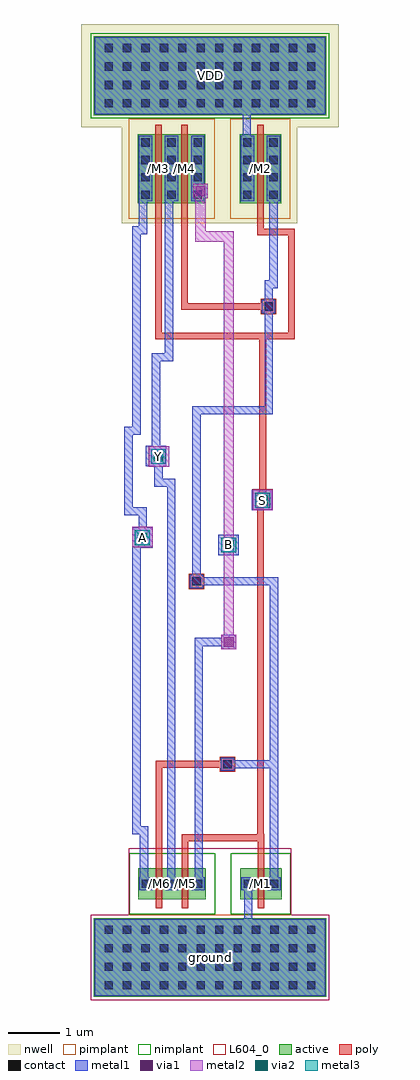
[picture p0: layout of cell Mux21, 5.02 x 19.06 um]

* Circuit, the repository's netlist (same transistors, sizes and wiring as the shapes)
* LVS netlist generated with ICnet by 'egrvlsi07' on Wed Apr  3 2019 at 13:10:53

*
* Globals.
*
.global ground VDD

*
* Component pathname : $VLSI/Project/Mux21
*
.subckt Mux21  Y A B S

        M6 Y N$46 A ground nmos l=0.13u w=0.6u m=1
        M3 Y S A VDD pmos l=0.13u w=1.35u m=1
        M5 Y S B ground nmos l=0.13u w=0.6u m=1
        M4 Y N$46 B VDD pmos l=0.13u w=1.35u m=1
        M2 N$46 S VDD VDD pmos l=0.13u w=1.35u m=1
        M1 N$46 S ground ground nmos l=0.13u w=0.6u m=1
.ends Mux21

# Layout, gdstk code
import gdstk
lib = gdstk.Library(unit=1e-6, precision=1e-09)
def R(c, l, rs):  # rectangles x0, y0, x1, y1
    for r in rs: c.add(gdstk.rectangle(r[:2], r[2:], *l))
def A(c, l, x, y, w, h, nx, ny, dx, dy):  # array of equal rectangles
    R(c, l, [(x+i*dx, y+j*dy, x+i*dx+w, y+j*dy+h) for i in range(nx) for j in range(ny)])
def P(c, l, *ps):  # polygons
    for p in ps: c.add(gdstk.Polygon(p, *l))
nwell = (3, 0)
active = (6, 0)
poly = (17, 0)
pimplant = (25, 0)
nimplant = (26, 0)
contact = (30, 0)
metal1 = (31, 0)
metal2 = (32, 0)
metal3 = (33, 0)
via1 = (51, 0)
via2 = (52, 0)
L604_0 = (604, 0)

m2m3 = lib.new_cell('M2M3')
R(m2m3, metal2, [(-0.145,-0.145,0.145,0.145)])
R(m2m3, metal3, [(-0.145,-0.145,0.145,0.145)])
R(m2m3, via2, [(-0.095,-0.095,0.095,0.095)])

m1m2 = lib.new_cell('M1M2')
R(m1m2, metal1, [(-0.145,-0.145,0.145,0.145)])
R(m1m2, metal2, [(-0.145,-0.145,0.145,0.145)])
R(m1m2, via1, [(-0.095,-0.095,0.095,0.095)])

poly_m1 = lib.new_cell('POLY_M1')
R(poly_m1, poly, [(-0.15,-0.15,0.15,0.15)])
R(poly_m1, contact, [(-0.08,-0.08,0.08,0.08)])
R(poly_m1, metal1, [(-0.13,-0.13,0.13,0.13)])

mux21 = lib.new_cell('Mux21')
R(mux21, nwell, [(-1.815,108.335,1.605,110.465), (-2.605,110.205,2.415,112.225)])
R(mux21, active, [(-2.365,93.225,2.175,94.765), (-1.495,95.135,-0.175,95.735), (0.495,95.135,1.305,95.735), (-1.505,108.725,-0.185,110.075), (0.485,108.725,1.295,110.075), (-2.365,110.445,2.175,111.985)])
R(mux21, poly, [(-1.155,94.955,-1.025,95.135), (-0.645,94.955,-0.515,95.135), (0.835,94.955,0.965,95.135), (-1.155,95.135,-1.025,95.735), (-0.645,95.135,-0.515,95.735), (0.835,95.135,0.965,95.735), (-1.155,95.735,-1.025,95.915), (-0.645,95.735,-0.515,95.915), (0.835,95.735,0.965,95.915), (0.835,95.785,0.965,96.4), (0.825,96.27,0.965,96.4), (0.825,96.27,0.955,102.99), (0.87,102.86,1,106.2), (0.87,106.07,1.56,106.2), (-1.165,108.545,-1.035,108.725), (-0.655,108.545,-0.525,108.725), (0.825,108.545,0.955,108.725), (-1.165,108.725,-1.035,110.075), (-0.655,108.725,-0.525,110.075), (0.825,108.725,0.955,110.075), (-1.165,110.075,-1.035,110.255), (-0.655,110.075,-0.525,110.255), (0.825,110.075,0.955,110.255)])
P(mux21, poly, [(-1.155,95.785),(-1.025,95.785),(-1.025,97.705),(0.31,97.705),(0.31,97.835),(-1.155,97.835)],
  [(-0.655,106.645),(1.115,106.645),(1.115,106.775),(-0.525,106.775),(-0.525,108.675),(-0.655,108.675)],
  [(0.825,108.1),(1.43,108.1),(1.43,106.07),(1.56,106.07),(1.56,108.23),(0.955,108.23),(0.955,108.675),(0.825,108.675)],
  [(-0.645,95.785),(-0.515,95.785),(-0.515,96.27),(0.955,96.27),(0.955,96.4),(-0.645,96.4)],
  [(-1.165,106.07),(1,106.07),(1,106.2),(-1.035,106.2),(-1.035,108.675),(-1.165,108.675)])
R(mux21, pimplant, [(-2.425,93.165,2.235,94.825), (-1.685,108.425,-0.005,110.375), (0.305,108.425,1.475,110.375)])
R(mux21, nimplant, [(-1.675,94.835,0.005,96.035), (0.315,94.835,1.485,96.035), (-2.425,110.385,2.235,112.045)])
A(mux21, contact, -2.155, 93.375, 0.16, 0.16, 12, 4, 0.36, 0.36)
A(mux21, contact, -1.425, 95.355, 0.16, 0.16, 3, 1, 0.51, 0)
A(mux21, contact, -1.435, 108.81, 0.16, 0.16, 3, 4, 0.51, 0.34)
A(mux21, contact, 0.555, 108.81, 0.16, 0.16, 1, 4, 0, 0.34)
A(mux21, contact, 1.065, 108.81, 0.16, 0.16, 1, 4, 0, 0.34)
A(mux21, contact, -2.155, 110.595, 0.16, 0.16, 12, 4, 0.36, 0.36)
R(mux21, contact, [(0.565,95.355,0.725,95.515), (1.075,95.355,1.235,95.515)])
A(mux21, metal1, -1.475, 95.305, 0.26, 0.26, 3, 1, 0.51, 0)
A(mux21, metal1, -1.485, 108.76, 0.26, 1.28, 3, 1, 0.51, 0)
R(mux21, metal1, [(-2.345,93.245,2.155,94.745), (-2.345,93.245,2.155,94.745), (0.57,94.585,0.73,95.465), (0.515,95.305,0.775,95.565), (1.025,95.305,1.285,95.565), (1.075,95.405,1.235,97.85), (0.165,97.69,1.235,97.85), (0.065,101.85,0.465,102.25), (-1.61,102,-1.21,102.4), (0.725,102.73,1.125,103.13), (-1.35,103.585,-0.95,103.985), (0.505,108.76,0.765,110.04), (1.015,108.76,1.275,110.04), (-0.365,108.885,-0.2,109.045), (0.54,109.88,0.7,110.625), (-2.345,110.465,2.155,111.965), (-2.345,110.465,2.155,111.965)])
P(mux21, metal1, [(-0.395,95.405),(-0.235,95.405),(-0.235,100.075),(0.35,100.075),(0.35,100.235),(-0.395,100.235)],
  [(0.97,106.63),(1.13,106.63),(1.13,107.06),(1.225,107.06),(1.225,108.92),(1.065,108.92),(1.065,107.22),(0.97,107.22)],
  [(-0.44,101.26),(-0.28,101.26),(-0.28,104.605),(1.13,104.605),(1.13,106.79),(0.97,106.79),(0.97,104.765),(-0.44,104.765)],
  [(-1.18,103.185),(-0.93,103.185),(-0.93,95.405),(-0.77,95.405),(-0.77,103.345),(-1.02,103.345),(-1.02,103.86),(-1.18,103.86)],
  [(-1.23,103.825),(-1.07,103.825),(-1.07,105.635),(-0.815,105.635),(-0.815,108.92),(-0.975,108.92),(-0.975,105.795),(-1.23,105.795)],
  [(-0.44,101.26),(1.075,101.26),(1.075,97.69),(1.235,97.69),(1.235,101.42),(-0.44,101.42)],
  [(-1.61,96.4),(-1.465,96.4),(-1.465,95.405),(-1.305,95.405),(-1.305,96.56),(-1.45,96.56),(-1.45,102.16),(-1.61,102.16)],
  [(-1.765,102.63),(-1.49,102.63),(-1.49,102.24),(-1.33,102.24),(-1.33,102.79),(-1.605,102.79),(-1.605,104.2),(-1.45,104.2),(-1.45,108.115),(-1.325,108.115),(-1.325,108.92),(-1.485,108.92),(-1.485,108.275),(-1.61,108.275),(-1.61,104.36),(-1.765,104.36)])
R(mux21, metal2, [(-1.61,102.005,-1.21,102.405), (0.735,102.73,1.135,103.13), (-1.29,103.58,-0.89,103.98)])
P(mux21, metal2, [(-0.38,107.975),(0.17,107.975),(0.17,100.055),(0.37,100.055),(0.37,108.175),(-0.18,108.175),(-0.18,109.065),(-0.38,109.065)])
R(mux21, metal3, [(0.17,101.965,0.37,102.165), (-1.515,102.095,-1.315,102.295), (0.835,102.825,1.035,103.025), (-1.2,103.68,-1,103.88)])
R(mux21, L604_0, [(-2.425,93.165,2.235,94.825), (-1.685,94.745,1.495,96.125), (0.73,102.735,1.13,103.135)])
mux21.add(gdstk.Reference(m2m3, (0.935,102.925)))
mux21.add(gdstk.Reference(m1m2, (-1.415,102.19)))
mux21.add(gdstk.Reference(m1m2, (-1.1,103.78)))
mux21.add(gdstk.Reference(m2m3, (-1.1,103.78)))
mux21.add(gdstk.Reference(poly_m1, (-0.36,101.34)))
mux21.add(gdstk.Reference(m1m2, (0.27,100.155)))
mux21.add(gdstk.Reference(m2m3, (0.27,102.05)))
mux21.add(gdstk.Reference(poly_m1, (0.245,97.77)))
mux21.add(gdstk.Reference(poly_m1, (0.935,102.925)))
mux21.add(gdstk.Reference(m1m2, (0.935,102.925)))
mux21.add(gdstk.Reference(m1m2, (0.27,102.05)))
mux21.add(gdstk.Reference(m2m3, (0.27,102.05)))
mux21.add(gdstk.Reference(m1m2, (-0.28,108.965)))
mux21.add(gdstk.Reference(poly_m1, (1.05,106.71)))
mux21.add(gdstk.Reference(m2m3, (-1.415,102.19)))
mux21.add(gdstk.Label('/M6', (-1.09,95.435), layer=17, texttype=0))
mux21.add(gdstk.Label('/M5', (-0.58,95.435), layer=17, texttype=0))
mux21.add(gdstk.Label('/M1', (0.9,95.435), layer=17, texttype=0))
mux21.add(gdstk.Label('/M3', (-1.1,109.4), layer=17, texttype=0))
mux21.add(gdstk.Label('/M4', (-0.59,109.4), layer=17, texttype=0))
mux21.add(gdstk.Label('/M2', (0.89,109.4), layer=17, texttype=0))
mux21.add(gdstk.Label('VDD', (-0.095,111.215), layer=131, texttype=0))
mux21.add(gdstk.Label('ground', (-0.095,93.995), layer=131, texttype=0))
mux21.add(gdstk.Label('Y', (-1.1,103.78), layer=133, texttype=0))
mux21.add(gdstk.Label('A', (-1.415,102.195), layer=133, texttype=0))
mux21.add(gdstk.Label('B', (0.27,102.065), layer=133, texttype=0))
mux21.add(gdstk.Label('S', (0.935,102.925), layer=133, texttype=0))

lib.write_gds('Mux21.gds')
